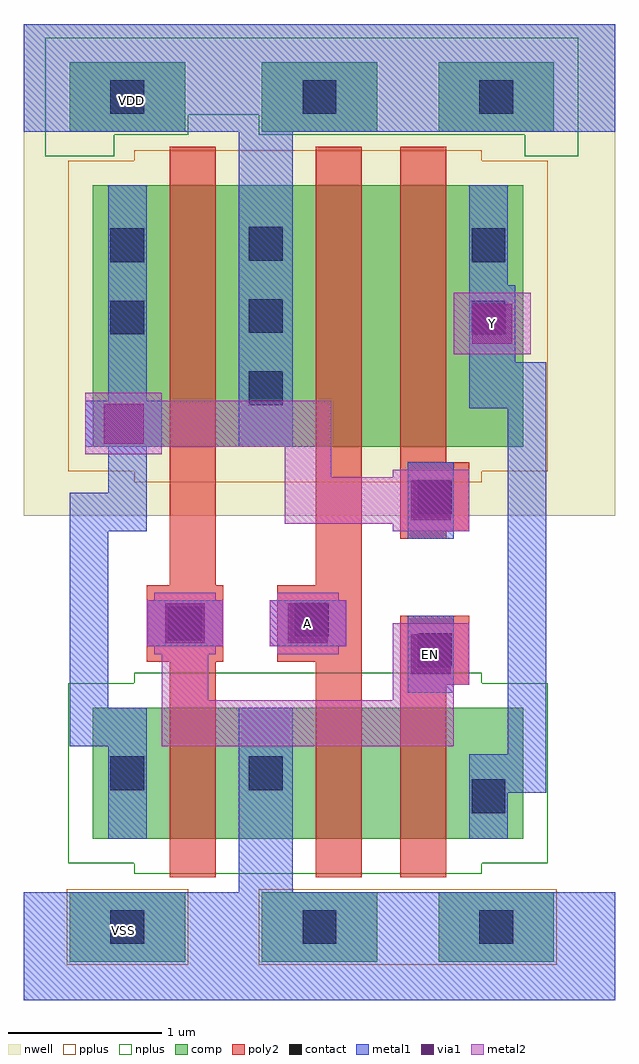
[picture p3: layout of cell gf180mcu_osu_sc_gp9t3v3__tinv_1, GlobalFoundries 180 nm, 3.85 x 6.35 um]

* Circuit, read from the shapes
.subckt gf180mcu_osu_sc_gp9t3v3__tinv_1 A EN VDD VSS Y
XM1 VSS EN n1 VSS nfet_03v3 w=0.85u l=0.3u
XM2 n2 A VSS VSS nfet_03v3 w=0.85u l=0.3u
XM3 Y EN n2 VSS nfet_03v3 w=0.85u l=0.3u
XM4 VDD EN n1 VDD pfet_03v3 w=1.7u l=0.3u
XM5 n3 A VDD VDD pfet_03v3 w=1.7u l=0.3u
XM6 Y n1 n3 VDD pfet_03v3 w=1.7u l=0.3u
.ends

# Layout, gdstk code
import gdstk
lib = gdstk.Library(unit=1e-6, precision=1e-09)
def R(c, l, rs):  # rectangles x0, y0, x1, y1
    for r in rs: c.add(gdstk.rectangle(r[:2], r[2:], *l))
def A(c, l, x, y, w, h, nx, ny, dx, dy):  # array of equal rectangles
    R(c, l, [(x+i*dx, y+j*dy, x+i*dx+w, y+j*dy+h) for i in range(nx) for j in range(ny)])
nwell = (21, 0)
comp = (22, 0)
poly2 = (30, 0)
pplus = (31, 0)
nplus = (32, 0)
contact = (33, 0)
metal1 = (34, 0)
via1 = (35, 0)
metal2 = (36, 0)

gf180mcu_osu_sc_gp9t3v3_ = lib.new_cell('gf180mcu_osu_sc_gp9t3v3__tinv_1')
R(gf180mcu_osu_sc_gp9t3v3_, nwell, [(0,3.15,3.85,6.35)])
R(gf180mcu_osu_sc_gp9t3v3_, comp, [(0.3,0.25,1.05,0.7), (1.55,0.25,2.3,0.7), (2.7,0.25,3.45,0.7), (0.45,1.05,3.25,1.9), (0.45,3.6,3.25,5.3), (0.3,5.65,1.05,6.1), (1.55,5.65,2.3,6.1), (2.7,5.65,3.45,6.1)])
R(gf180mcu_osu_sc_gp9t3v3_, poly2, [(0.95,0.8,1.25,2.2), (1.9,0.8,2.2,2.2), (2.45,0.8,2.75,2.05), (2.45,2.05,2.9,2.5), (0.8,2.2,1.3,2.7), (1.65,2.2,2.2,2.7), (0.95,2.7,1.25,5.55), (1.9,2.7,2.2,5.55), (2.45,3,2.75,3.05), (2.45,3.05,2.9,3.5), (2.45,3.5,2.75,5.55)])
R(gf180mcu_osu_sc_gp9t3v3_, pplus, [(0.28,0.23,1.07,0.72), (1.53,0.23,3.47,0.72), (0.72,3.37,2.98,3.44), (0.29,3.44,3.41,5.46), (0.72,5.46,2.98,5.53)])
R(gf180mcu_osu_sc_gp9t3v3_, nplus, [(0.72,0.82,2.98,0.89), (0.29,0.89,3.41,2.06), (0.72,2.06,2.98,2.13), (0.14,5.49,0.59,5.63), (3.26,5.49,3.61,5.63), (0.14,5.63,1.07,5.76), (1.53,5.63,3.61,5.76), (0.14,5.76,3.61,6.26)])
A(gf180mcu_osu_sc_gp9t3v3_, contact, 1.465, 3.87, 0.22, 0.22, 1, 3, 0, 0.47)
R(gf180mcu_osu_sc_gp9t3v3_, contact, [(0.565,0.365,0.785,0.585), (1.815,0.365,2.035,0.585), (2.965,0.365,3.185,0.585), (2.915,1.215,3.135,1.435), (0.565,1.365,0.785,1.585), (1.465,1.365,1.685,1.585), (2.565,2.165,2.785,2.385), (0.94,2.34,1.16,2.56), (1.765,2.365,1.985,2.585), (2.565,3.165,2.785,3.385), (0.565,4.33,0.785,4.55), (2.915,4.33,3.135,4.55), (0.565,4.8,0.785,5.02), (2.915,4.8,3.135,5.02), (0.565,5.765,0.785,5.985), (1.815,5.765,2.035,5.985), (2.965,5.765,3.185,5.985)])
R(gf180mcu_osu_sc_gp9t3v3_, metal1, [(0,0,3.85,0.7), (1.4,0.7,1.75,1.9), (0.55,1.05,0.8,1.65), (2.9,1.05,3.15,1.35), (2.9,1.35,3.4,1.6), (3.15,1.6,3.4,3.85), (0.3,1.65,0.8,1.9), (0.3,1.9,0.55,3.05), (2.5,2,2.8,2.5), (0.8,2.3,1.3,2.6), (1.6,2.3,2.1,2.6), (2.5,3,2.8,3.5), (0.3,3.05,0.8,3.3), (0.55,3.3,0.8,3.6), (0.4,3.6,0.9,3.9), (1.4,3.6,1.75,5.65), (2.9,3.85,3.4,4.15), (0.55,3.9,0.8,5.3), (2.9,4.15,3.2,4.65), (2.9,4.65,3.15,5.3), (0,5.65,3.85,6.35)])
R(gf180mcu_osu_sc_gp9t3v3_, via1, [(2.52,2.12,2.78,2.38), (0.92,2.32,1.18,2.58), (1.72,2.32,1.98,2.58), (2.52,3.12,2.78,3.38), (0.52,3.62,0.78,3.88), (2.92,4.27,3.18,4.53)])
R(gf180mcu_osu_sc_gp9t3v3_, metal2, [(0.9,1.65,2.8,1.95), (0.9,1.95,1.2,2.25), (2.4,1.95,2.8,2.05), (2.4,2.05,2.9,2.45), (0.85,2.25,1.25,2.3), (1.65,2.25,2.05,2.3), (0.8,2.3,1.3,2.6), (1.6,2.3,2.1,2.6), (0.85,2.6,1.25,2.65), (1.65,2.6,2.05,2.65), (2.4,3.05,2.9,3.1), (1.7,3.1,2.9,3.4), (1.7,3.4,2,3.6), (2.4,3.4,2.9,3.45), (0.4,3.55,0.9,3.6), (0.4,3.6,2,3.9), (0.4,3.9,0.9,3.95), (2.8,4.2,3.3,4.6)])
gf180mcu_osu_sc_gp9t3v3_.add(gdstk.Label('VDD', (0.7,5.85), layer=34, texttype=10))
gf180mcu_osu_sc_gp9t3v3_.add(gdstk.Label('VSS', (0.65,0.45), layer=34, texttype=10))
gf180mcu_osu_sc_gp9t3v3_.add(gdstk.Label('A', (1.85,2.45), layer=36, texttype=10))
gf180mcu_osu_sc_gp9t3v3_.add(gdstk.Label('EN', (2.65,2.25), layer=36, texttype=10))
gf180mcu_osu_sc_gp9t3v3_.add(gdstk.Label('Y', (3.05,4.4), layer=36, texttype=10))

lib.write_gds('gf180mcu_osu_sc_gp9t3v3__tinv_1.gds')
